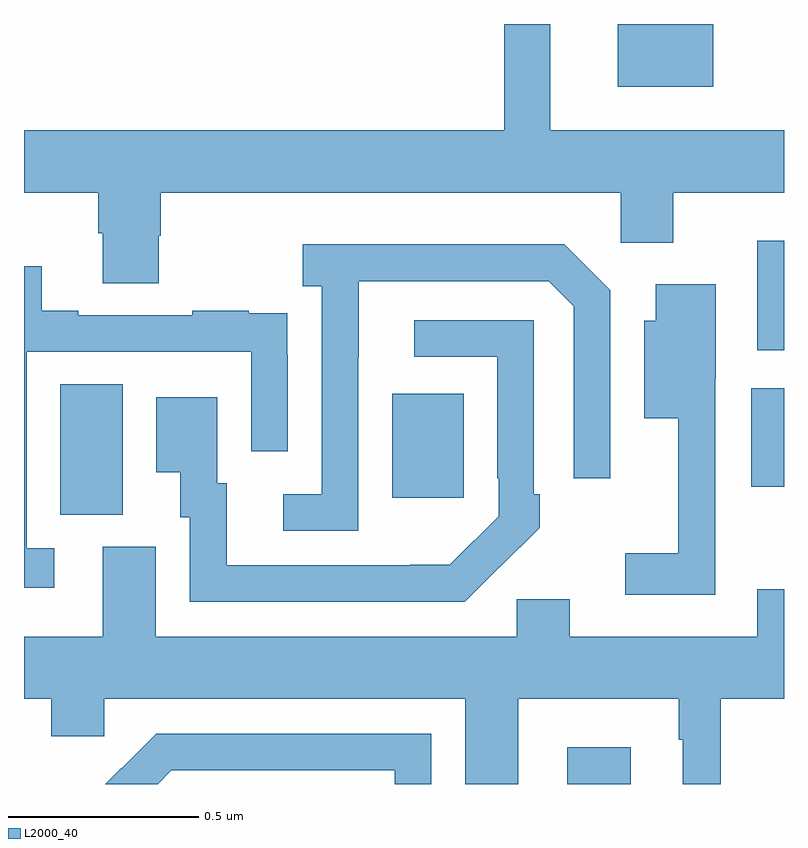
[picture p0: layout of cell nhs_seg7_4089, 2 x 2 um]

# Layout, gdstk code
import gdstk
lib = gdstk.Library(unit=1e-6, precision=1e-09)
def R(c, l, rs):  # rectangles x0, y0, x1, y1
    for r in rs: c.add(gdstk.rectangle(r[:2], r[2:], *l))
def P(c, l, *ps):  # polygons
    for p in ps: c.add(gdstk.Polygon(p, *l))
L2000_40 = (2000, 40)

nhs_seg7_4089 = lib.new_cell('nhs_seg7_4089')
R(nhs_seg7_4089, L2000_40, [(168.429,1059,168.597,1059.097), (167.096,1059.709,167.26,1060.052), (167.969,1059.753,168.157,1060.027), (168.914,1059.782,169,1060.042), (168.929,1060.142,169,1060.429), (168.563,1060.835,168.814,1061)])
P(nhs_seg7_4089, L2000_40, [(167.355,1060.443),(167.36,1060.443),(167.36,1060.556),(168.57,1060.556),(168.57,1060.425),(168.709,1060.425),(168.709,1060.556),(169,1060.556),(169,1060.72),(168.385,1060.72),(168.385,1061),(168.264,1061),(168.264,1060.72),(167,1060.72),(167,1060.556),(167.195,1060.556),(167.195,1060.45),(167.207,1060.45),(167.207,1060.318),(167.355,1060.318)],
  [(167.88,1060.123),(167.881,1060.123),(167.881,1060.323),(168.381,1060.323),(168.447,1060.257),(168.447,1059.804),(168.543,1059.804),(168.543,1060.299),(168.422,1060.42),(167.733,1060.42),(167.733,1060.31),(167.784,1060.31),(167.784,1059.762),(167.682,1059.762),(167.682,1059.666),(167.88,1059.666)],
  [(167.08,1059.621),(167.007,1059.621),(167.007,1060.137),(167.598,1060.137),(167.598,1059.876),(167.694,1059.876),(167.694,1060.13),(167.693,1060.13),(167.693,1060.239),(167.591,1060.239),(167.591,1060.246),(167.443,1060.246),(167.443,1060.233),(167.143,1060.233),(167.143,1060.246),(167.047,1060.246),(167.047,1060.363),(167,1060.363),(167,1059.516),(167.08,1059.516)],
  [(168.819,1060.066),(168.82,1060.066),(168.82,1060.315),(168.662,1060.315),(168.662,1060.219),(168.632,1060.219),(168.632,1059.962),(168.722,1059.962),(168.722,1059.607),(168.582,1059.607),(168.582,1059.498),(168.819,1059.498)],
  [(168.251,1059.571),(168.252,1059.57),(168.357,1059.675),(168.357,1059.763),(168.342,1059.763),(168.342,1060.221),(168.027,1060.221),(168.027,1060.125),(168.246,1060.125),(168.246,1059.805),(168.249,1059.805),(168.249,1059.705),(168.121,1059.577),(168.017,1059.577),(168.017,1059.576),(167.533,1059.576),(167.533,1059.792),(167.509,1059.792),(167.509,1060.018),(167.348,1060.018),(167.348,1059.821),(167.411,1059.821),(167.411,1059.702),(167.436,1059.702),(167.436,1059.48),(168.16,1059.48)],
  [(168.301,1059.224),(168.723,1059.224),(168.723,1059.117),(168.734,1059.117),(168.734,1059),(168.833,1059),(168.833,1059.224),(169,1059.224),(169,1059.512),(168.929,1059.512),(168.929,1059.388),(168.436,1059.388),(168.436,1059.486),(168.297,1059.486),(168.297,1059.388),(167.347,1059.388),(167.347,1059.624),(167.207,1059.624),(167.207,1059.388),(167,1059.388),(167,1059.224),(167.072,1059.224),(167.072,1059.126),(167.211,1059.126),(167.211,1059.224),(168.161,1059.224),(168.161,1059),(168.301,1059)],
  [(167.388,1059.036),(167.975,1059.036),(167.975,1059),(168.072,1059),(168.072,1059.132),(167.348,1059.132),(167.257,1059.041),(167.256,1059.042),(167.214,1059),(167.352,1059)])

lib.write_gds('nhs_seg7_4089.gds')
